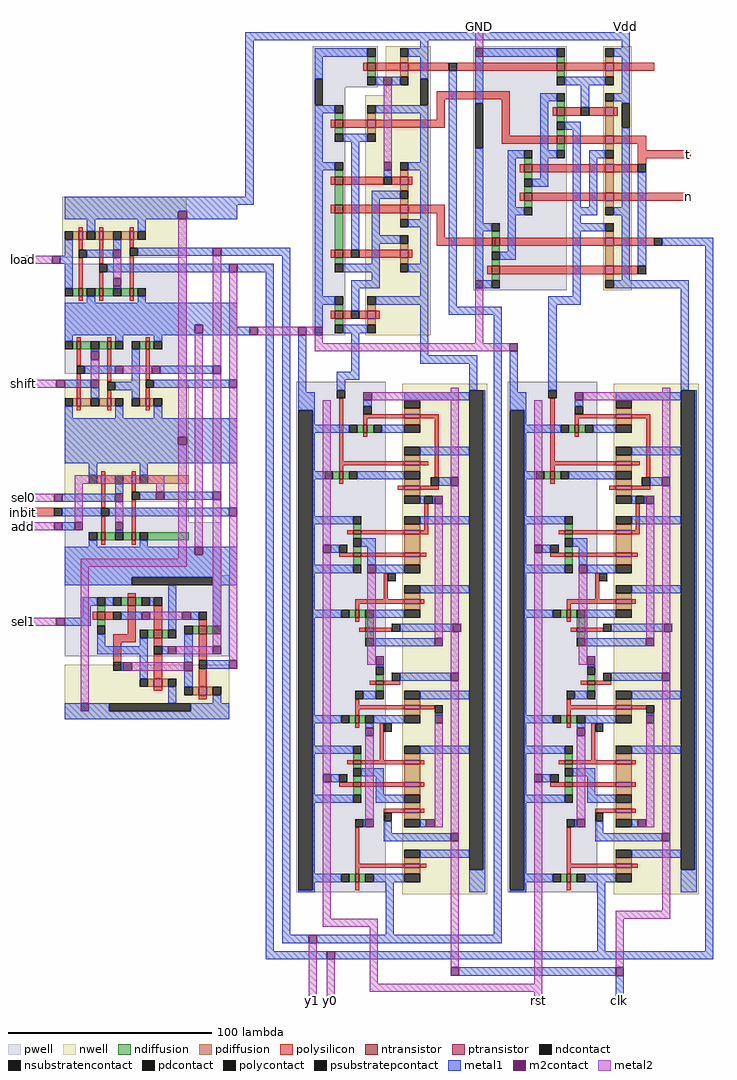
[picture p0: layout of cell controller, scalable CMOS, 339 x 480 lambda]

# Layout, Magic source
magic
tech scmos
<< polysilicon >>
rect 105 133 111 137
rect 115 133 162 137
rect 105 119 141 123
rect 105 105 109 119
rect 137 101 141 119
rect 137 97 162 101
rect 212 90 230 94
rect 212 69 230 73
rect 105 51 109 67
rect 105 47 134 51
rect -98 -86 -83 -82
<< metal1 >>
rect 196 152 200 156
rect 11 148 200 152
rect 11 71 15 148
rect 97 144 101 148
rect 196 144 200 148
rect 7 67 15 71
rect 7 42 33 46
rect 7 34 25 38
rect 7 3 13 7
rect -79 -79 -75 -75
rect -79 -86 -75 -82
rect -79 -93 -78 -89
rect 21 -300 25 34
rect 29 -292 33 42
rect 111 17 115 133
rect 216 47 241 51
rect 200 26 229 30
rect 160 18 176 22
rect 111 13 137 17
rect 37 -25 41 3
rect 63 -15 67 0
rect 97 -7 101 4
rect 97 -11 125 -7
rect 56 -19 67 -15
rect 56 -24 60 -19
rect 121 -24 125 -11
rect 80 -292 84 -270
rect 133 -292 137 13
rect 141 -31 145 -5
rect 160 -24 164 18
rect 225 -24 229 26
rect 29 -296 42 -292
rect 46 -296 137 -292
rect 184 -300 188 -270
rect 237 -300 241 47
rect 21 -304 51 -300
rect 55 -304 241 -300
rect 116 -312 193 -308
rect 193 -324 197 -312
<< metal2 >>
rect 124 144 128 156
rect -98 38 -84 42
rect 17 3 37 7
rect 41 3 45 7
rect 45 -1 49 3
rect 124 -1 128 26
rect 45 -5 141 -1
rect -98 -23 -82 -19
rect -98 -79 -83 -75
rect -98 -93 -83 -89
rect -98 -140 -82 -136
rect 49 -284 53 -270
rect 49 -288 76 -284
rect 42 -324 46 -296
rect 51 -324 55 -304
rect 72 -316 76 -288
rect 112 -308 116 -271
rect 153 -316 157 -271
rect 216 -280 220 -271
rect 193 -284 220 -280
rect 193 -308 197 -284
rect 72 -320 157 -316
rect 153 -324 157 -320
<< polycontact >>
rect 111 133 115 137
rect 212 47 216 51
rect 56 -28 60 -24
rect 160 -28 164 -24
rect -83 -86 -79 -82
<< m2contact >>
rect 124 140 128 144
rect -84 38 -80 42
rect 13 3 17 7
rect -82 -23 -78 -19
rect -83 -79 -79 -75
rect -83 -93 -79 -89
rect -82 -140 -78 -136
rect 124 26 128 30
rect 37 3 41 7
rect 45 3 49 7
rect 141 -5 145 -1
rect 42 -296 46 -292
rect 51 -304 55 -300
rect 112 -312 116 -308
rect 193 -312 197 -308
use curstate  curstate_0
transform 1 0 -83 0 1 2
box 3 -188 90 69
use NextState1  NextState1_0
transform 0 1 83 -1 0 78
box -67 -39 78 22
use NextState2  NextState2_0
transform 0 1 139 -1 0 61
box -84 -16 39 73
use reg1  reg1_0
transform 0 1 78 -1 0 -79
box -59 -42 193 52
use reg1  reg1_1
transform 0 1 182 -1 0 -79
box -59 -42 193 52
<< labels >>
rlabel metal2 -98 -21 -98 -21 7 shift
rlabel metal2 -98 40 -98 40 7 load
rlabel metal2 -98 -77 -98 -77 7 sel0
rlabel polysilicon -98 -84 -98 -84 7 inbit
rlabel metal2 -98 -91 -98 -91 7 add
rlabel metal2 -98 -138 -98 -138 7 sel1
rlabel metal2 44 -324 44 -324 5 y1
rlabel metal2 53 -324 53 -324 5 y0
rlabel metal1 198 155 198 155 5 Vdd
rlabel metal2 126 155 126 155 5 GND
rlabel polysilicon 229 92 229 92 7 t
rlabel polysilicon 229 71 229 71 7 n
rlabel metal1 195 -324 195 -324 5 clk
rlabel metal2 155 -324 155 -324 5 rst
<< end >>

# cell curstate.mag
magic
tech scmos
<< pwell >>
rect 5 -18 65 36
rect 5 -91 66 -84
rect 5 -118 82 -91
rect 5 -119 50 -118
<< nwell >>
rect 4 39 65 69
rect 5 -81 66 -21
<< polysilicon >>
rect 12 52 14 54
rect 22 52 24 54
rect 37 52 39 54
rect 12 43 14 48
rect 12 24 14 39
rect 22 36 24 48
rect 37 44 39 48
rect 22 24 24 32
rect 37 24 39 40
rect 12 18 14 20
rect 22 18 24 20
rect 37 18 39 20
rect 11 -2 13 0
rect 26 -2 28 0
rect 45 -2 47 0
rect 11 -14 13 -6
rect 11 -30 13 -18
rect 26 -22 28 -6
rect 45 -21 47 -6
rect 26 -30 28 -26
rect 45 -30 47 -25
rect 11 -36 13 -34
rect 26 -36 28 -34
rect 45 -36 47 -34
rect 23 -68 25 -66
rect 38 -68 40 -66
rect 23 -84 25 -72
rect 38 -76 40 -72
rect 23 -96 25 -88
rect 38 -96 40 -80
rect 23 -102 25 -100
rect 38 -102 40 -100
<< ndiffusion >>
rect 9 20 12 24
rect 14 20 16 24
rect 20 20 22 24
rect 24 20 29 24
rect 33 20 37 24
rect 39 20 41 24
rect 9 -6 11 -2
rect 13 -6 18 -2
rect 22 -6 26 -2
rect 28 -6 30 -2
rect 42 -6 45 -2
rect 47 -6 49 -2
rect 21 -100 23 -96
rect 25 -100 30 -96
rect 34 -100 38 -96
rect 40 -100 42 -96
rect 46 -100 66 -96
<< pdiffusion >>
rect 9 48 12 52
rect 14 48 16 52
rect 20 48 22 52
rect 24 48 29 52
rect 33 48 37 52
rect 39 48 41 52
rect 9 -34 11 -30
rect 13 -34 18 -30
rect 22 -34 26 -30
rect 28 -34 30 -30
rect 42 -34 45 -30
rect 47 -34 49 -30
rect 21 -72 23 -68
rect 25 -72 30 -68
rect 34 -72 38 -68
rect 40 -72 42 -68
rect 46 -72 66 -68
<< metal1 >>
rect 5 62 90 69
rect 5 58 61 62
rect 65 58 90 62
rect 16 52 20 58
rect 41 52 45 58
rect 5 40 9 48
rect 29 43 33 48
rect 3 36 9 40
rect 16 39 29 43
rect 41 40 78 44
rect 82 40 90 44
rect 5 24 9 36
rect 26 32 86 36
rect 29 24 33 25
rect 16 17 20 20
rect 41 17 45 20
rect 5 6 90 17
rect 5 2 69 6
rect 73 2 90 6
rect 5 1 90 2
rect 5 -2 9 1
rect 30 -2 34 1
rect 49 -2 53 1
rect 18 -7 22 -6
rect 15 -18 30 -14
rect 5 -25 18 -21
rect 38 -22 42 -6
rect 52 -18 78 -14
rect 18 -30 22 -25
rect 30 -26 42 -22
rect 49 -25 86 -21
rect 38 -30 42 -26
rect 5 -40 9 -34
rect 30 -40 34 -34
rect 49 -40 53 -34
rect 5 -49 90 -40
rect 5 -53 61 -49
rect 65 -53 90 -49
rect 5 -62 90 -53
rect 17 -68 21 -62
rect 42 -68 46 -62
rect 30 -77 34 -72
rect 5 -81 30 -77
rect 42 -80 50 -76
rect 54 -80 78 -76
rect 5 -88 23 -84
rect 27 -88 86 -84
rect 5 -95 10 -91
rect 30 -96 34 -95
rect 17 -103 21 -100
rect 42 -103 46 -100
rect 5 -107 69 -103
rect 73 -107 90 -103
rect 5 -117 90 -107
rect 5 -120 15 -117
rect 82 -122 90 -117
<< metal2 >>
rect 29 29 33 39
rect 18 -21 22 -11
rect 34 -18 48 -14
rect 61 -49 65 58
rect 10 -72 54 -68
rect 10 -91 14 -72
rect 50 -76 54 -72
rect 30 -91 34 -81
rect 61 -109 65 -53
rect 69 -103 73 2
rect 78 -14 82 40
rect 78 -76 82 -18
rect 13 -113 65 -109
rect 13 -180 17 -113
rect 78 -120 82 -80
rect 86 -21 90 32
rect 86 -84 90 -25
rect 86 -121 90 -88
<< ntransistor >>
rect 12 20 14 24
rect 22 20 24 24
rect 37 20 39 24
rect 11 -6 13 -2
rect 26 -6 28 -2
rect 45 -6 47 -2
rect 23 -100 25 -96
rect 38 -100 40 -96
<< ptransistor >>
rect 12 48 14 52
rect 22 48 24 52
rect 37 48 39 52
rect 11 -34 13 -30
rect 26 -34 28 -30
rect 45 -34 47 -30
rect 23 -72 25 -68
rect 38 -72 40 -68
<< polycontact >>
rect 12 39 16 43
rect 37 40 41 44
rect 22 32 26 36
rect 11 -18 15 -14
rect 26 -26 30 -22
rect 45 -25 49 -21
rect 38 -80 42 -76
rect 23 -88 27 -84
<< ndcontact >>
rect 5 20 9 24
rect 16 20 20 24
rect 29 20 33 24
rect 41 20 45 24
rect 5 -6 9 -2
rect 18 -6 22 -2
rect 30 -6 34 -2
rect 38 -6 42 -2
rect 49 -6 53 -2
rect 17 -100 21 -96
rect 30 -100 34 -96
rect 42 -100 46 -96
<< pdcontact >>
rect 5 48 9 52
rect 16 48 20 52
rect 29 48 33 52
rect 41 48 45 52
rect 5 -34 9 -30
rect 18 -34 22 -30
rect 30 -34 34 -30
rect 38 -34 42 -30
rect 49 -34 53 -30
rect 17 -72 21 -68
rect 30 -72 34 -68
rect 42 -72 46 -68
<< m2contact >>
rect 61 58 65 62
rect 29 39 33 43
rect 78 40 82 44
rect 86 32 90 36
rect 29 25 33 29
rect 69 2 73 6
rect 18 -11 22 -7
rect 30 -18 34 -14
rect 18 -25 22 -21
rect 48 -18 52 -14
rect 78 -18 82 -14
rect 86 -25 90 -21
rect 61 -53 65 -49
rect 30 -81 34 -77
rect 50 -80 54 -76
rect 78 -80 82 -76
rect 86 -88 90 -84
rect 10 -95 14 -91
rect 30 -95 34 -91
rect 69 -107 73 -103
rect 13 -184 17 -180
use XOR_sm  XOR_sm_0
transform 1 0 25 0 1 -141
box -20 -47 65 24
<< labels >>
rlabel metal1 3 36 3 40 7 load
rlabel space 3 9 65 69 1 load_cell
rlabel metal1 32 65 52 68 5 Vdd
rlabel metal1 28 10 28 10 1 GND
rlabel metal1 20 -108 20 -108 1 GND
rlabel metal1 5 -95 5 -91 7 add
rlabel metal1 5 -88 5 -84 7 inbit
rlabel metal1 5 -81 5 -77 7 sel0
rlabel metal1 66 -88 66 -84 3 y0
rlabel metal1 66 -80 66 -76 3 y1
rlabel metal1 65 40 65 44 3 y1
rlabel metal1 65 32 65 36 3 y0
rlabel metal1 5 -25 6 -21 7 shift
rlabel metal1 31 -46 50 -43 1 Vdd
rlabel metal1 65 -18 65 -14 3 y1
rlabel metal1 65 -25 65 -21 3 y0
rlabel metal1 90 40 90 44 3 y1
rlabel m2contact 90 32 90 36 3 y0
rlabel m2contact 13 -184 17 -180 1 Vdd
<< end >>

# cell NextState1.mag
magic
tech scmos
<< pwell >>
rect -67 -23 -47 -7
rect -67 -39 75 -23
<< nwell >>
rect -67 -3 75 19
rect -43 -13 75 -3
<< polysilicon >>
rect -59 8 -55 22
rect -59 -8 -55 4
rect -31 -8 -27 22
rect -3 8 1 10
rect 11 8 15 22
rect 33 8 37 10
rect -3 0 1 4
rect -59 -14 -55 -12
rect -31 -24 -27 -12
rect -3 -24 1 -4
rect 11 -24 15 4
rect 33 -16 37 4
rect 63 -8 67 -6
rect 33 -24 37 -20
rect 63 -16 67 -12
rect 63 -24 67 -20
rect -31 -30 -27 -28
rect -3 -30 1 -28
rect 11 -30 15 -28
rect 33 -30 37 -28
rect 63 -30 67 -28
<< ndiffusion >>
rect -62 -12 -59 -8
rect -55 -12 -52 -8
rect -34 -28 -31 -24
rect -27 -28 -24 -24
rect -6 -28 -3 -24
rect 1 -28 11 -24
rect 15 -28 33 -24
rect 37 -28 40 -24
rect 60 -28 63 -24
rect 67 -28 70 -24
<< pdiffusion >>
rect -62 4 -59 8
rect -55 4 -52 8
rect -6 4 -3 8
rect 1 4 4 8
rect 8 4 11 8
rect 15 4 18 8
rect 30 4 33 8
rect 37 4 40 8
rect -34 -12 -31 -8
rect -27 -12 -24 -8
rect 60 -12 63 -8
rect 67 -12 70 -8
<< metal1 >>
rect -66 14 -51 18
rect -38 14 74 18
rect -66 8 -62 14
rect -52 0 -48 4
rect -52 -8 -48 -4
rect -38 -8 -34 14
rect -10 8 -6 14
rect 18 8 22 14
rect 40 8 44 14
rect -6 -4 -3 0
rect 4 -6 8 4
rect 26 -6 30 4
rect 4 -10 52 -6
rect -66 -34 -62 -12
rect -24 -16 -20 -12
rect -24 -20 33 -16
rect -24 -24 -20 -20
rect 40 -24 44 -10
rect 48 -16 52 -10
rect 56 -8 60 14
rect 70 -16 74 -12
rect 48 -20 63 -16
rect 70 -20 78 -16
rect 70 -24 74 -20
rect -38 -34 -34 -28
rect -10 -34 -6 -28
rect 56 -34 60 -28
rect -66 -38 -51 -34
rect -38 -38 74 -34
<< metal2 >>
rect -48 -4 -10 0
<< ntransistor >>
rect -59 -12 -55 -8
rect -31 -28 -27 -24
rect -3 -28 1 -24
rect 11 -28 15 -24
rect 33 -28 37 -24
rect 63 -28 67 -24
<< ptransistor >>
rect -59 4 -55 8
rect -3 4 1 8
rect 11 4 15 8
rect 33 4 37 8
rect -31 -12 -27 -8
rect 63 -12 67 -8
<< polycontact >>
rect -3 -4 1 0
rect 33 -20 37 -16
rect 63 -20 67 -16
<< ndcontact >>
rect -66 -12 -62 -8
rect -52 -12 -48 -8
rect -38 -28 -34 -24
rect -24 -28 -20 -24
rect -10 -28 -6 -24
rect 40 -28 44 -24
rect 56 -28 60 -24
rect 70 -28 74 -24
<< pdcontact >>
rect -66 4 -62 8
rect -52 4 -48 8
rect -10 4 -6 8
rect 4 4 8 8
rect 18 4 22 8
rect 26 4 30 8
rect 40 4 44 8
rect -38 -12 -34 -8
rect -24 -12 -20 -8
rect 56 -12 60 -8
rect 70 -12 74 -8
<< m2contact >>
rect -52 -4 -48 0
rect -10 -4 -6 0
<< psubstratepcontact >>
rect -51 -38 -38 -34
<< nsubstratencontact >>
rect -51 14 -38 18
<< labels >>
rlabel metal1 -8 17 -8 17 5 Vdd
rlabel metal1 -8 -37 -8 -37 1 GND
rlabel polysilicon -57 21 -57 21 5 y1
rlabel polysilicon -29 21 -29 21 5 t
rlabel polysilicon 13 21 13 21 5 y0
rlabel metal1 77 -18 77 -18 7 OutY1
<< end >>

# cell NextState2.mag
magic
tech scmos
<< pwell >>
rect -84 -16 36 30
<< nwell >>
rect -84 48 36 62
<< polysilicon >>
rect -76 53 -72 73
rect -33 69 -29 73
rect -40 65 -26 69
rect -54 53 -50 55
rect -40 53 -36 65
rect -26 53 -22 65
rect -12 53 -8 73
rect 10 53 14 73
rect 24 53 28 65
rect -76 29 -72 49
rect -54 41 -50 49
rect -54 29 -50 37
rect -40 29 -36 49
rect -76 23 -72 25
rect -54 23 -50 25
rect -40 23 -36 25
rect -26 13 -22 49
rect -12 13 -8 49
rect -26 7 -22 9
rect -12 7 -8 9
rect 10 -3 14 49
rect 24 -3 28 49
rect 10 -9 14 -7
rect 24 -9 28 -7
<< ndiffusion >>
rect -79 25 -76 29
rect -72 25 -69 29
rect -57 25 -54 29
rect -50 25 -47 29
rect -43 25 -40 29
rect -36 25 -33 29
rect -29 9 -26 13
rect -22 9 -19 13
rect -15 9 -12 13
rect -8 9 -5 13
rect 7 -7 10 -3
rect 14 -7 17 -3
rect 21 -7 24 -3
rect 28 -7 31 -3
<< pdiffusion >>
rect -79 49 -76 53
rect -72 49 -69 53
rect -57 49 -54 53
rect -50 49 -40 53
rect -36 49 -33 53
rect -29 49 -26 53
rect -22 49 -12 53
rect -8 49 -5 53
rect 7 49 10 53
rect 14 49 24 53
rect 28 49 31 53
<< metal1 >>
rect -22 65 24 69
rect -83 57 -56 61
rect -44 57 35 61
rect -83 53 -79 57
rect -61 53 -57 57
rect -5 53 -1 57
rect 31 53 35 57
rect -69 41 -65 49
rect -33 45 -29 49
rect -33 41 -1 45
rect -69 37 -54 41
rect -5 37 -1 41
rect 3 37 7 49
rect -69 29 -65 37
rect -47 33 39 37
rect -47 29 -43 33
rect -83 -11 -79 25
rect -61 21 -57 25
rect -33 21 -29 25
rect -61 17 -15 21
rect -19 13 -15 17
rect -33 5 -29 9
rect -5 5 -1 9
rect -33 1 21 5
rect 17 -3 21 1
rect 3 -11 7 -7
rect 31 -11 35 -7
rect -83 -15 -56 -11
rect -34 -15 35 -11
<< ntransistor >>
rect -76 25 -72 29
rect -54 25 -50 29
rect -40 25 -36 29
rect -26 9 -22 13
rect -12 9 -8 13
rect 10 -7 14 -3
rect 24 -7 28 -3
<< ptransistor >>
rect -76 49 -72 53
rect -54 49 -50 53
rect -40 49 -36 53
rect -26 49 -22 53
rect -12 49 -8 53
rect 10 49 14 53
rect 24 49 28 53
<< polycontact >>
rect -26 65 -22 69
rect 24 65 28 69
rect -54 37 -50 41
<< ndcontact >>
rect -83 25 -79 29
rect -69 25 -65 29
rect -61 25 -57 29
rect -47 25 -43 29
rect -33 25 -29 29
rect -33 9 -29 13
rect -19 9 -15 13
rect -5 9 -1 13
rect 3 -7 7 -3
rect 17 -7 21 -3
rect 31 -7 35 -3
<< pdcontact >>
rect -83 49 -79 53
rect -69 49 -65 53
rect -61 49 -57 53
rect -33 49 -29 53
rect -5 49 -1 53
rect 3 49 7 53
rect 31 49 35 53
<< psubstratepcontact >>
rect -56 -15 -34 -11
<< nsubstratencontact >>
rect -56 57 -44 61
<< labels >>
rlabel metal1 38 35 38 35 7 OutY2
rlabel polysilicon -74 72 -74 72 5 y1
rlabel polysilicon -31 72 -31 72 5 t
rlabel polysilicon -10 72 -10 72 5 n
rlabel polysilicon 12 72 12 72 5 y0
rlabel metal1 -31 60 -31 60 5 Vdd
rlabel metal1 -31 -14 -31 -14 1 GND
<< end >>

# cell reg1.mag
magic
tech scmos
<< pwell >>
rect -59 -42 192 2
<< nwell >>
rect -58 10 193 52
<< polysilicon >>
rect -43 26 -12 28
rect -43 19 -41 26
rect -20 19 -18 23
rect -8 19 -6 28
rect 1 21 16 23
rect 14 19 16 21
rect 25 19 27 22
rect 48 19 50 21
rect 100 19 102 26
rect 127 19 129 21
rect 138 19 140 21
rect 151 19 153 21
rect 178 19 180 22
rect -43 -7 -41 11
rect -43 -9 -38 -7
rect -34 -9 -32 -7
rect -20 -19 -18 11
rect -8 8 -6 11
rect 14 -10 16 11
rect 25 -10 27 11
rect 48 3 50 11
rect 35 1 50 3
rect 48 -11 50 1
rect 62 -4 64 5
rect 88 1 90 9
rect 88 -6 90 -3
rect 62 -11 64 -8
rect 48 -13 53 -11
rect 57 -13 59 -11
rect 100 -11 102 11
rect 127 1 129 11
rect 109 -1 129 1
rect 127 -10 129 -1
rect 138 -10 140 11
rect 151 1 153 11
rect 97 -13 105 -11
rect 109 -13 111 -11
rect 14 -17 16 -14
rect -51 -21 -15 -19
rect -11 -21 -9 -19
rect 25 -21 27 -14
rect 178 -11 180 11
rect 160 -13 183 -11
rect 187 -13 191 -11
rect 127 -17 129 -14
rect 138 -21 140 -14
<< ndiffusion >>
rect -38 -7 -34 -4
rect -38 -12 -34 -9
rect 11 -14 14 -10
rect 16 -14 18 -10
rect 22 -14 25 -10
rect 27 -14 31 -10
rect 85 -3 88 1
rect 90 -3 93 1
rect 57 -8 62 -4
rect 64 -8 67 -4
rect 53 -11 57 -8
rect 105 -11 109 -8
rect -15 -19 -11 -16
rect 53 -16 57 -13
rect 105 -16 109 -13
rect 124 -14 127 -10
rect 129 -14 131 -10
rect 135 -14 138 -10
rect 140 -14 144 -10
rect 183 -11 187 -8
rect 183 -16 187 -13
rect -15 -24 -11 -21
<< pdiffusion >>
rect -46 11 -43 19
rect -41 11 -38 19
rect -23 11 -20 19
rect -18 11 -15 19
rect -11 11 -8 19
rect -6 11 -3 19
rect 11 11 14 19
rect 16 11 25 19
rect 27 11 31 19
rect 45 11 48 19
rect 50 11 53 19
rect 97 11 100 19
rect 102 11 105 19
rect 124 11 127 19
rect 129 11 138 19
rect 140 11 144 19
rect 148 11 151 19
rect 153 11 156 19
rect 175 11 178 19
rect 180 11 183 19
<< metal1 >>
rect -55 50 192 51
rect 181 43 192 50
rect -54 11 -50 43
rect -27 19 -23 43
rect -12 28 -8 34
rect -3 25 1 26
rect -3 19 1 21
rect 7 19 11 43
rect 41 19 45 43
rect -38 0 -34 11
rect -50 -9 -47 -5
rect -15 -12 -11 11
rect 31 -3 35 11
rect 18 -7 31 -3
rect 53 -4 57 11
rect 60 9 64 35
rect 18 -10 22 -7
rect 67 -4 71 26
rect 84 9 88 34
rect 93 19 97 43
rect 104 26 105 30
rect 120 19 124 43
rect 156 19 160 22
rect 80 -3 81 1
rect 93 -9 97 -3
rect 105 -4 109 11
rect 144 1 148 11
rect 163 5 167 34
rect 171 19 175 43
rect 157 1 167 5
rect 183 6 187 11
rect 183 2 191 6
rect 131 -3 148 1
rect 109 -8 111 -4
rect 131 -10 135 -3
rect 183 -4 187 2
rect 156 -9 160 -8
rect -38 -33 -34 -16
rect -15 -33 -11 -28
rect 7 -33 11 -14
rect 21 -25 25 -21
rect 31 -33 35 -14
rect 53 -33 57 -20
rect 105 -33 109 -20
rect 120 -33 124 -14
rect 134 -25 138 -21
rect 144 -33 148 -14
rect 183 -33 187 -20
rect -54 -34 192 -33
rect -54 -41 -45 -34
rect 191 -41 192 -34
<< metal2 >>
rect -56 34 -12 38
rect -8 35 60 38
rect 64 35 84 38
rect -8 34 84 35
rect 88 34 163 38
rect 167 34 192 38
rect -54 -5 -50 34
rect 1 26 67 30
rect 109 26 160 30
rect 35 -7 80 -3
rect 115 -8 156 -4
rect -50 -29 21 -25
rect 25 -29 134 -25
rect 138 -29 192 -25
<< ntransistor >>
rect -38 -9 -34 -7
rect 14 -14 16 -10
rect 25 -14 27 -10
rect 88 -3 90 1
rect 62 -8 64 -4
rect 53 -13 57 -11
rect 105 -13 109 -11
rect -15 -21 -11 -19
rect 127 -14 129 -10
rect 138 -14 140 -10
rect 183 -13 187 -11
<< ptransistor >>
rect -43 11 -41 19
rect -20 11 -18 19
rect -8 11 -6 19
rect 14 11 16 19
rect 25 11 27 19
rect 48 11 50 19
rect 100 11 102 19
rect 127 11 129 19
rect 138 11 140 19
rect 151 11 153 19
rect 178 11 180 19
<< polycontact >>
rect -12 24 -8 28
rect 100 26 104 30
rect -3 21 1 25
rect -47 -9 -43 -5
rect 35 3 39 7
rect 60 5 64 9
rect 84 5 88 9
rect 93 -13 97 -9
rect 109 1 113 5
rect 153 1 157 5
rect 21 -21 25 -17
rect 156 -13 160 -9
rect 134 -21 138 -17
<< ndcontact >>
rect -38 -4 -34 0
rect -38 -16 -34 -12
rect -15 -16 -11 -12
rect 7 -14 11 -10
rect 18 -14 22 -10
rect 31 -14 35 -10
rect 81 -3 85 1
rect 93 -3 97 1
rect 53 -8 57 -4
rect 67 -8 71 -4
rect 105 -8 109 -4
rect 53 -20 57 -16
rect 120 -14 124 -10
rect 131 -14 135 -10
rect 144 -14 148 -10
rect 183 -8 187 -4
rect 105 -20 109 -16
rect 183 -20 187 -16
rect -15 -28 -11 -24
<< pdcontact >>
rect -50 11 -46 19
rect -38 11 -34 19
rect -27 11 -23 19
rect -15 11 -11 19
rect -3 11 1 19
rect 7 11 11 19
rect 31 11 35 19
rect 41 11 45 19
rect 53 11 57 19
rect 93 11 97 19
rect 105 11 109 19
rect 120 11 124 19
rect 144 11 148 19
rect 156 11 160 19
rect 171 11 175 19
rect 183 11 187 19
<< m2contact >>
rect -12 34 -8 38
rect -3 26 1 30
rect 60 35 64 39
rect -54 -9 -50 -5
rect 31 -7 35 -3
rect 84 34 88 38
rect 67 26 71 30
rect 105 26 109 30
rect 163 34 167 38
rect 156 22 160 26
rect 76 -3 80 1
rect 111 -8 115 -4
rect 156 -8 160 -4
rect 21 -29 25 -25
rect 134 -29 138 -25
<< psubstratepcontact >>
rect -45 -41 191 -34
<< nsubstratencontact >>
rect -55 43 181 50
<< labels >>
rlabel metal1 -49 -40 -49 -40 1 GND
rlabel metal2 -50 -27 -50 -27 7 rst
rlabel polysilicon -51 -20 -51 -20 7 Din
rlabel metal2 -56 36 -56 36 7 clk
rlabel metal1 188 50 188 50 5 Vdd
rlabel metal1 191 4 191 4 3 Qout
<< end >>

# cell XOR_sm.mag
magic
tech scmos
<< pwell >>
rect -20 -16 61 24
<< nwell >>
rect -20 -47 61 -20
<< polysilicon >>
rect 11 13 15 15
rect -6 2 -4 6
rect 0 2 4 6
rect 11 -5 15 9
rect 24 -3 28 9
rect 46 -1 50 2
rect 4 -9 15 -5
rect 4 -19 8 -9
rect 24 -11 28 -7
rect 24 -27 28 -15
rect 46 -18 50 -5
rect 46 -31 50 -22
rect 24 -33 28 -31
rect 46 -37 50 -35
<< ndiffusion >>
rect 8 9 11 13
rect 15 9 18 13
rect -4 6 0 9
rect -4 -1 0 2
rect 21 -7 24 -3
rect 28 -7 31 -3
rect 43 -5 46 -1
rect 50 -5 53 -1
<< pdiffusion >>
rect 21 -31 24 -27
rect 28 -31 31 -27
rect 43 -35 46 -31
rect 50 -35 53 -31
<< metal1 >>
rect -20 23 57 24
rect -20 19 13 23
rect -11 9 -4 13
rect 0 9 4 13
rect 22 9 24 13
rect -11 3 -7 9
rect -20 -1 -7 3
rect 8 2 18 6
rect 31 -3 35 19
rect 42 2 46 6
rect 53 -1 57 23
rect -4 -11 0 -5
rect 17 -11 21 -7
rect -4 -15 21 -11
rect 28 -15 31 -11
rect 8 -23 9 -19
rect 17 -27 21 -15
rect 39 -19 43 -5
rect 50 -22 61 -18
rect 31 -39 35 -31
rect 39 -31 43 -23
rect 53 -39 57 -35
rect -20 -43 2 -39
rect 42 -43 61 -39
rect -20 -47 61 -43
<< metal2 >>
rect 22 2 38 6
rect 53 -11 57 24
rect 35 -15 53 -11
rect 61 -18 65 24
rect 13 -23 39 -19
<< ntransistor >>
rect 11 9 15 13
rect -4 2 0 6
rect 24 -7 28 -3
rect 46 -5 50 -1
<< ptransistor >>
rect 24 -31 28 -27
rect 46 -35 50 -31
<< polycontact >>
rect 24 9 28 13
rect 4 2 8 6
rect 46 2 50 6
rect 4 -23 8 -19
rect 24 -15 28 -11
rect 46 -22 50 -18
<< ndcontact >>
rect -4 9 0 13
rect 4 9 8 13
rect 18 9 22 13
rect -4 -5 0 -1
rect 17 -7 21 -3
rect 31 -7 35 -3
rect 39 -5 43 -1
rect 53 -5 57 -1
<< pdcontact >>
rect 17 -31 21 -27
rect 31 -31 35 -27
rect 39 -35 43 -31
rect 53 -35 57 -31
<< m2contact >>
rect 18 2 22 6
rect 38 2 42 6
rect 31 -15 35 -11
rect 9 -23 13 -19
rect 53 -15 57 -11
rect 39 -23 43 -19
rect 61 -22 65 -18
<< psubstratepcontact >>
rect 13 19 53 23
<< nsubstratencontact >>
rect 2 -43 42 -39
<< labels >>
rlabel metal1 48 -44 48 -44 1 Vdd
rlabel metal1 -20 -1 -20 3 7 sel1
rlabel m2contact 53 -15 57 -11 1 y1
rlabel m2contact 61 -22 65 -18 7 y0
rlabel metal2 61 24 65 24 1 y0
rlabel metal2 53 24 57 24 1 y1
rlabel metal1 3 21 3 21 5 GND
<< end >>
